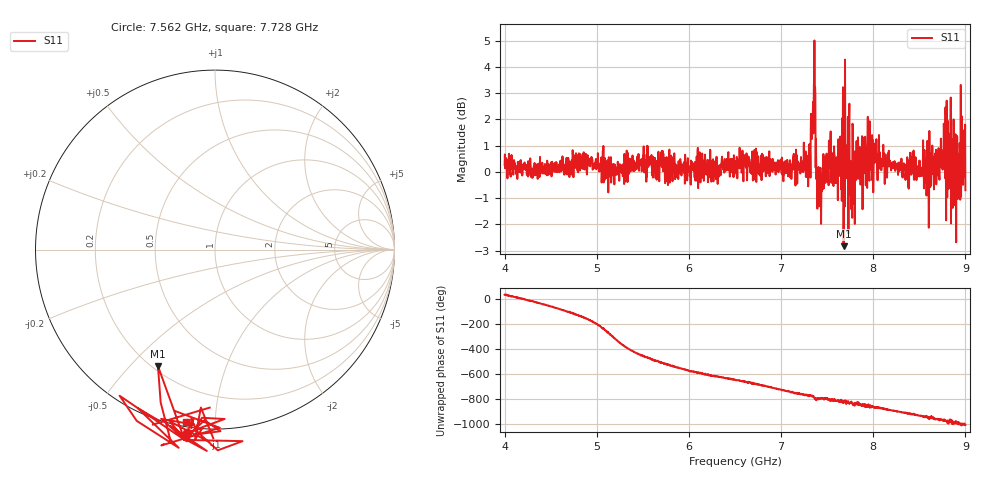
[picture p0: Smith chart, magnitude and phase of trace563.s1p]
! Created with skrf 1.8.0 (http://scikit-rf.org).
# Hz S RI R 50.0
!freq ReS11 ImS11
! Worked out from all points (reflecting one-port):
!   1601 points, 4 GHz to 9 GHz, reference 50 ohm
!   lowest |S11| = -2.8 dB at 7.678 GHz (marker M1), VSWR 6.20, Z = 11.1 - j30.1 ohm
!   phase of S11 starts at 37 deg and turns -1049 deg over the sweep
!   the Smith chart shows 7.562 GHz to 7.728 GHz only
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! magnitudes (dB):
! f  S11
! 4 GHz  0.3
! 4.625 GHz  0.1
! 4.762 GHz  0.5
! 5.25 GHz  0.3
! 5.572 GHz  0.3
! 5.875 GHz  0.0
! 6.5 GHz  0.2
! 7.125 GHz  0.3
! 7.294 GHz  -0.6
! 7.347 GHz  2.7
! 7.366 GHz  2.5
! 7.397 GHz  -0.6
! 7.409 GHz  -1.2
! 7.512 GHz  -0.2
! 7.591 GHz  0.3
! 7.678 GHz  -2.8
! 7.719 GHz  0.0
! 7.75 GHz  -0.9
! 7.775 GHz  1.8
! 7.828 GHz  0.7
! 7.928 GHz  0.8
! 8.375 GHz  -0.1
! 8.566 GHz  0.5
! 8.603 GHz  -2.1
! 8.791 GHz  -1.8
! 8.875 GHz  0.5
! 8.972 GHz  1.0
! 9 GHz  -0.7
